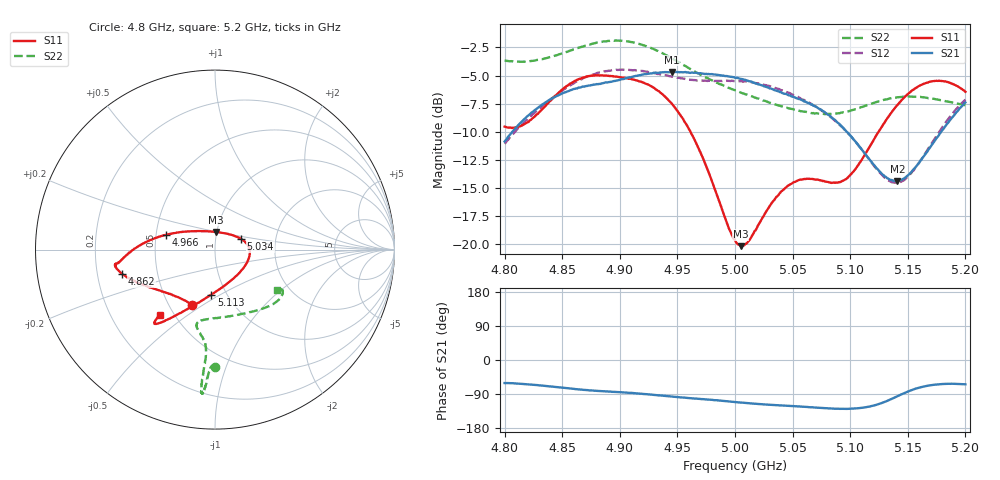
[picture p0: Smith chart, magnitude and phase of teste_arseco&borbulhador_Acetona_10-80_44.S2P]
! Network Analyzer HP8722D
! Hewlett-Packard
! Data name: Linha & Wilkinson
! Saver's name: Rodrigo Anjos
! Comments: Teste da utilização de aquisição
! continua pelo VNA HP8722D
! Time and date: 17/4/2025 14:43
!  Frequency  S11  S21  S12  S22
# HZ  S  MA R 50
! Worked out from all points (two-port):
!   401 points, 4.8 GHz to 5.2 GHz, reference 50 ohm
!   highest |S21| = -4.67 dB at 4.945 GHz (marker M1); lowest = -14.4 dB at 5.141 GHz (marker M2)
!   |S21| within 3 dB of the highest: 4.831 GHz to 5.068 GHz (236.5 MHz wide, 4.78 % of centre); 5.197446 GHz to end of sweep
!   lowest |S11| = -20.2 dB at 5.005 GHz (marker M3), VSWR 1.22, Z = 49.7 + j9.81 ohm
!   |S11| at or under -10 dB: 4.961 GHz to 5.125 GHz (163.4 MHz wide, 3.24 % of centre)
!   |S22| runs from -8.4 to -1.9 dB; largest |S21 - S12| = 0.88
!   S11 on the Smith chart (normalised r, x): 4.8 GHz: 0.65, -0.45; 4.862 GHz: 0.31, -0.12; 4.966 GHz: 0.57, +0.10; 5.034 GHz: 1.33, +0.16; 5.113 GHz: 0.85, -0.45; 5.2 GHz: 0.42, -0.39
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4.8e9  0.3331 -113.1  0.286 -60.8  0.2795 -174.9  0.6553 -90.0
4.819e9  0.3465 -132.9  0.3676 -63.8  0.3557 -173.3  0.6495 -91.5
4.862e9  0.5351 -165.4  0.4926 -76.9  0.5275 -176.6  0.7421 -93.7
4.867e9  0.5483 -167.3  0.5008 -78.3  0.5416 -177.5  0.7557 -93.9
4.899e9  0.5542 -171.9  0.5367 -85.0  0.5958 175.7  0.8038 -95.2
4.934e9  0.4788 -178.0  0.5791 -93.4  0.5726 171.9  0.7193 -95.6
4.945e9  0.4224 177.0  0.5839 -96.5  0.5564 172.1  0.6718 -95.3
4.966e9  0.2834 163.0  0.5788 -101.9  0.536 173.8  0.5824 -94.9
5e9  0.104 103.1  0.5497 -110.9  0.5319 176.4  0.4837 -99.2
5.005e9  0.0979 86.0  0.5436 -112.3  0.5306 176.3  0.4724 -100.2
5.012e9  0.1033 63.1  0.5305 -114.1  0.5266 175.9  0.4589 -101.8
5.034e9  0.1569 22.1  0.4847 -119.1  0.498 175.1  0.4197 -103.6
5.05e9  0.1871 5.5  0.4524 -121.7  0.4624 174.3  0.3987 -99.7
5.067e9  0.1951 -12.5  0.4175 -124.8  0.4182 173.9  0.3822 -90.9
5.093e9  0.1908 -56.7  0.3326 -128.8  0.3319 174.0  0.3846 -70.9
5.113e9  0.2511 -94.5  0.2521 -124.9  0.2516 179.7  0.4125 -55.1
5.134e9  0.3735 -115.9  0.194 -105.5  0.1909 -158.3  0.4442 -43.0
5.141e9  0.4162 -119.9  0.1908 -95.4  0.1876 -147.2  0.4501 -39.9
5.153e9  0.479 -124.8  0.2089 -79.7  0.207 -128.9  0.4533 -35.7
5.17e9  0.5286 -128.5  0.2724 -66.5  0.277 -112.6  0.4451 -31.8
5.184e9  0.5267 -129.8  0.3424 -63.0  0.3543 -107.2  0.4314 -30.9
5.2e9  0.4762 -130.3  0.427 -64.2  0.4395 -106.2  0.4146 -33.1
